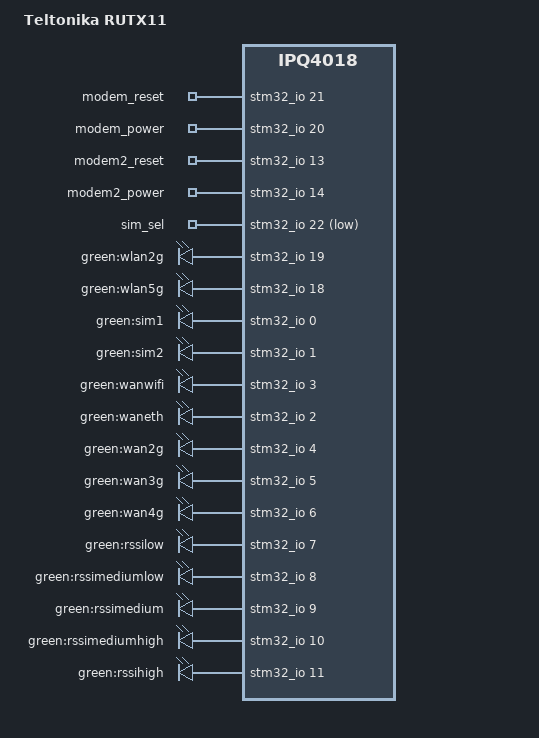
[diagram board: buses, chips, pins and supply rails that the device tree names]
// SPDX-License-Identifier: GPL-2.0-or-later OR MIT

#include "qcom-ipq4018-rutx.dtsi"

/ {
	model = "Teltonika RUTX11";
	compatible = "teltonika,rutx11";
	
	aliases {
		led-boot = &led_rssi;
		led-failsafe = &led_rssi;
		led-upgrade = &led_rssi;
	};

	soc {
		
		usb3: usb3@8af8800 {
			dwc3@8a00000 {
				snps,dis_u2_susphy_quirk;
				snps,dis_u3_susphy_quirk;
			};
		};

		usb2: usb2@60f8800 {
			dwc3@6000000 {
				snps,dis_u2_susphy_quirk;
			};
		};

		gpio-export {
			compatible = "gpio-export";
			#size-cells = <0>;

			gpio_modem_reset {
				gpio-export,name = "modem_reset";
				gpio-export,output = <0>;
				gpios = <&stm32_io 21 GPIO_ACTIVE_HIGH>;
			};

			gpio_modem_power {
				gpio-export,name = "modem_power";
				gpio-export,output = <0>;
				gpios = <&stm32_io 20 GPIO_ACTIVE_HIGH>;
			};

			gpio_modem2_reset {
				gpio-export,name = "modem2_reset";
				gpio-export,output = <0>;
				gpios = <&stm32_io 13 GPIO_ACTIVE_HIGH>;
			};

			gpio_modem2_power {
				gpio-export,name = "modem2_power";
				gpio-export,output = <0>;
				gpios = <&stm32_io 14 GPIO_ACTIVE_HIGH>;
			};

			gpio_sim_select {
				gpio-export,name = "sim_sel";
				gpio-export,output = <1>;
				gpios = <&stm32_io 22 GPIO_ACTIVE_LOW>;
			};
		};

		leds {
			compatible = "gpio-leds";

			wlan2g {
				label = "green:wlan2g";
				gpios = <&stm32_io 19 GPIO_ACTIVE_HIGH>;
				linux,default-trigger = "phy0tpt";
			};

			wlan5g {
				label = "green:wlan5g";
				gpios = <&stm32_io 18 GPIO_ACTIVE_HIGH>;
				linux,default-trigger = "phy1tpt";
			};

			sim1 {
				label = "green:sim1";
				gpios = <&stm32_io 0 GPIO_ACTIVE_HIGH>;
			};

			sim2 {
				label = "green:sim2";
				gpios = <&stm32_io 1 GPIO_ACTIVE_HIGH>;
			};

			wanwifi {
				label = "green:wanwifi";
				gpios = <&stm32_io 3 GPIO_ACTIVE_HIGH>;
			};

			waneth {
				label = "green:waneth";
				gpios = <&stm32_io 2 GPIO_ACTIVE_HIGH>;
			};

			wan2g {
				label = "green:wan2g";
				gpios = <&stm32_io 4 GPIO_ACTIVE_HIGH>;
			};

			wan3g {
				label = "green:wan3g";
				gpios = <&stm32_io 5 GPIO_ACTIVE_HIGH>;
			};

			wan4g {
				label = "green:wan4g";
				gpios = <&stm32_io 6 GPIO_ACTIVE_HIGH>;
			};

			led_rssi: rssilow {
				label = "green:rssilow";
				gpios = <&stm32_io 7 GPIO_ACTIVE_HIGH>;
			};

			rssimediumlow {
				label = "green:rssimediumlow";
				gpios = <&stm32_io 8 GPIO_ACTIVE_HIGH>;
			};

			rssimedium {
				label = "green:rssimedium";
				gpios = <&stm32_io 9 GPIO_ACTIVE_HIGH>;
			};

			rssimediumhigh {
				label = "green:rssimediumhigh";
				gpios = <&stm32_io 10 GPIO_ACTIVE_HIGH>;
			};

			rssihigh {
				label = "green:rssihigh";
				gpios = <&stm32_io 11 GPIO_ACTIVE_HIGH>;
				panic-indicator;
			};
		};
	};
};
